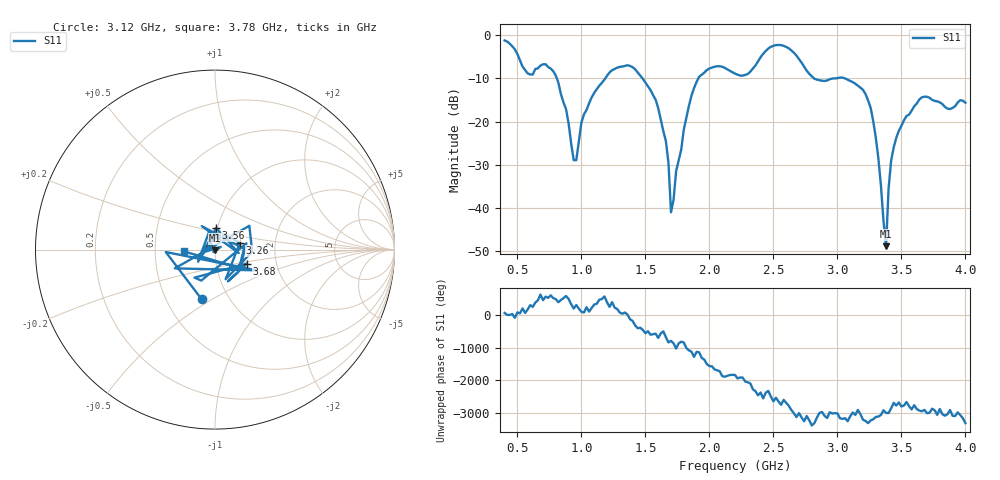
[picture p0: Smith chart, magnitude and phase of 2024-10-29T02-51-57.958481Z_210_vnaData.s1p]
!Created with skrf (http://scikit-rf.org).
# Hz S RI R 50.0
!freq ReS11 ImS11
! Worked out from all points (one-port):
!   181 points, 400 MHz to 4 GHz, reference 50 ohm
!   lowest |S11| = -48.9 dB at 3.38 GHz (marker M1), VSWR 1.01, Z = 49.8 - j0.321 ohm
!   |S11| at or under -10 dB: 807.9 MHz to 1.186 GHz (378.4 MHz wide, 37.9 % of centre); 1.478 GHz to 1.914 GHz (436 MHz wide, 25.7 % of centre); 3.059 GHz to end of sweep (the widest 3 of 4)
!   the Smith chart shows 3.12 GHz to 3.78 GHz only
!   S11 on the Smith chart (normalised r, x): 3.12 GHz: 0.75, -0.45; 3.26 GHz: 1.32, +0.10; 3.56 GHz: 0.98, +0.24; 3.68 GHz: 1.41, -0.23; 3.78 GHz: 0.71, -0.02
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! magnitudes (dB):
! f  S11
! 400 MHz  -1.2
! 580 MHz  -8.8
! 780 MHz  -8.3
! 860 MHz  -15.6
! 960 MHz  -29.0
! 1 GHz  -20.3
! 1.08 GHz  -14.4
! 1.3 GHz  -7.3
! 1.58 GHz  -14.9
! 1.66 GHz  -24.6
! 1.7 GHz  -41.1
! 1.76 GHz  -29.0
! 1.92 GHz  -9.6
! 2.2 GHz  -8.9
! 2.5 GHz  -2.4
! 2.66 GHz  -4.0
! 2.82 GHz  -10.1
! 3.1 GHz  -10.6
! 3.12 GHz  -10.9
! 3.26 GHz  -16.8
! 3.32 GHz  -28.5
! 3.38 GHz  -48.9
! 3.4 GHz  -35.5
! 3.42 GHz  -29.0
! 3.56 GHz  -18.4
! 3.68 GHz  -14.2
! 3.78 GHz  -15.3
! 4 GHz  -15.6
